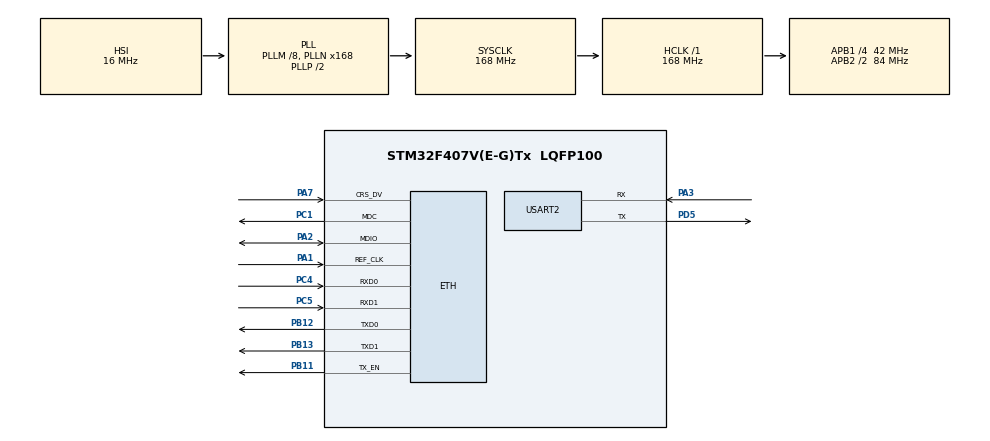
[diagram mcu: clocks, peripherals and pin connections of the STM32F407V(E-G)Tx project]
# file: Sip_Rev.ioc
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ETH.MediaInterface=HAL_ETH_RMII_MODE
ETH.PHY_Name_RMII=DP83848_PHY_ADDRESS
FREERTOS.Tasks01=defaultTask,24,128,StartDefaultTask,Default,NULL,Dynamic,NULL,NULL
FREERTOS.configUSE_NEWLIB_REENTRANT=1
LWIP.BSP.number=1
LWIP.CMSIS_VERSION-Enabled=1
LWIP.GATEWAY_ADDRESS=192.168.001.001
LWIP.IP_ADDRESS=192.168.001.125
LWIP.LWIP_DHCP=0
LWIP.NETMASK_ADDRESS=255.255.255.000
LWIP.Version=v2.1.2_Cube
LWIP0.BSP.STBoard=false
LWIP0.BSP.api=BSP_COMPONENT_DRIVER
LWIP0.BSP.component=DP83848
LWIP0.BSP.instance=DP83848
LWIP0.BSP.name=Driver_PHY
LWIP0.BSP.semaphore=S_DP83848
LWIP0.BSP.solution=DP83848
MBEDTLS.MBEDTLS_MD5_C=1
Mcu.Family=STM32F4
Mcu.Name=STM32F407V(E-G)Tx
Mcu.Package=LQFP100
NVIC.ETH_IRQn=true\:5\:0\:false\:false\:true\:true\:false\:true\:true
NVIC.PriorityGroup=NVIC_PRIORITYGROUP_4
NVIC.TIM2_IRQn=true\:15\:0\:false\:false\:true\:false\:false\:true\:true
NVIC.TimeBase=TIM2_IRQn
NVIC.TimeBaseIP=TIM2
PA1.Mode=RMII
PA1.Signal=ETH_REF_CLK
PA13.Mode=Serial_Wire
PA13.Signal=SYS_JTMS-SWDIO
PA14.Mode=Serial_Wire
PA14.Signal=SYS_JTCK-SWCLK
PA2.Mode=RMII
PA2.Signal=ETH_MDIO
PA3.Mode=Asynchronous
PA3.Signal=USART2_RX
PA7.Mode=RMII
PA7.Signal=ETH_CRS_DV
PB11.Mode=RMII
PB11.Signal=ETH_TX_EN
PB12.Mode=RMII
PB12.Signal=ETH_TXD0
PB13.Mode=RMII
PB13.Signal=ETH_TXD1
PC1.Mode=RMII
PC1.Signal=ETH_MDC
PC14-OSC32_IN.Mode=LSE-External-Oscillator
PC14-OSC32_IN.Signal=RCC_OSC32_IN
PC15-OSC32_OUT.Mode=LSE-External-Oscillator
PC15-OSC32_OUT.Signal=RCC_OSC32_OUT
PC4.Mode=RMII
PC4.Signal=ETH_RXD0
PC5.Mode=RMII
PC5.Signal=ETH_RXD1
PD5.Mode=Asynchronous
PD5.Signal=USART2_TX
PH0-OSC_IN.Mode=HSE-External-Oscillator
PH0-OSC_IN.Signal=RCC_OSC_IN
PH1-OSC_OUT.Mode=HSE-External-Oscillator
PH1-OSC_OUT.Signal=RCC_OSC_OUT
ProjectManager.HeapSize=0x2000
ProjectManager.StackSize=0x4000
ProjectManager.TargetToolchain=STM32CubeIDE
RCC.48MHZClocksFreq_Value=84000000
RCC.AHBFreq_Value=168000000
RCC.APB1CLKDivider=RCC_HCLK_DIV4
RCC.APB1Freq_Value=42000000
RCC.APB1TimFreq_Value=84000000
RCC.APB2CLKDivider=RCC_HCLK_DIV2
RCC.APB2Freq_Value=84000000
RCC.APB2TimFreq_Value=168000000
RCC.CortexFreq_Value=168000000
RCC.HCLKFreq_Value=168000000
RCC.HSE_VALUE=8000000
RCC.HSI_VALUE=16000000
RCC.PLLM=8
RCC.PLLN=168
RCC.SYSCLKFreq_VALUE=168000000
RCC.SYSCLKSource=RCC_SYSCLKSOURCE_PLLCLK
RCC.VCOOutputFreq_Value=336000000
USART2.VirtualMode=VM_ASYNC
VP_FREERTOS_VS_CMSIS_V2.Mode=CMSIS_V2
VP_LWIP_VS_Enabled.Mode=Enabled
VP_MBEDTLS_VS_MBEDTLS.Mode=Enabled
VP_SYS_VS_tim2.Mode=TIM2
board=custom

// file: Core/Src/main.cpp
/* USER CODE BEGIN Header */
/**
  ******************************************************************************
  * @file           : main.c
  * @brief          : Main program body
  ******************************************************************************
  * @attention
  *
  * Copyright (c) 2023 STMicroelectronics.
  * All rights reserved.
  *
  * This software is licensed under terms that can be found in the LICENSE file
  * in the root directory of this software component.
  * If no LICENSE file comes with this software, it is provided AS-IS.
  *
  ******************************************************************************
  */
/* USER CODE END Header */
#include "main.h"
#include "cmsis_os2.h"

/* USER CODE BEGIN Includes */

#include "lwip_udp_client.h"
#include "mbedtls_md5.h"
#include "sip_client.h"
#include "button_handler.h"

extern "C" {
	#include <stdio.h>
	#include "lwip.h"
}
/* USER CODE END Includes */

void SystemClock_Config(void);
static void MX_GPIO_Init(void);
static void MX_USART2_UART_Init(void);
UART_HandleTypeDef huart2;

void but_task(void * argument);
void lwip_task(void * argument);
void sip_task(void *pvParameters);
/* USER CODE BEGIN PFP */

osThreadId_t thread_sip, thread_button, thread_lwip;
osEventFlagsId_t event_eth;

constexpr uint8_t COMMAND_ETH_BIT = (1<<2);

osThreadAttr_t sip_attributes = {
  .name = "SipTask",
  .stack_size = 4096,
  .priority = osPriorityNormal
};

osThreadAttr_t but_attributes = {
  .name = "ButTask",
  .stack_size = 1024,
  .priority = osPriorityNormal
};

osThreadAttr_t lwip_attributes = {
  .name = "LwipTask",
  .stack_size = 1024,
  .priority = osPriorityNormal
};

/* USER CODE END PFP */

/* USER CODE BEGIN 0 */
#define SIP_SERVER_IP   "192.168.1.117"
#define SIP_SERVER_PORT "5160"
#define SIP_USER		"103"
#define LOCAL_IP		"192.168.1.125"
#define SIP_PASSWORD	"103"
#define RING_DURATION_TIMEOUT_MSEC 7000

using SipClientT = SipClient<LwipUdpClient, MbedtlsMd5>;
SipClientT __attribute__((section(".ccmram"))) client{SIP_USER, SIP_PASSWORD, SIP_SERVER_IP, SIP_SERVER_PORT, LOCAL_IP};

extern struct netif gnetif;

ButtonInputHandler<SipClientT, RING_DURATION_TIMEOUT_MSEC> button_input_handler(client);

void HAL_GPIO_EXTI_Callback(uint16_t GPIO_Pin) {
  if (GPIO_Pin == GPIO_PIN_0) {
	  Event event = Event::BUTTON_PRESS;
	  osMessageQueuePut(button_input_handler.m_queue, &event, osPriorityISR, 0);
  }
}

#ifdef __GNUC__
#define PUTCHAR_PROTOTYPE int __io_putchar(int ch)
#else
#define PUTCHAR_PROTOTYPE int fputc(int ch, FILE *f)
#endif

extern "C" {
	PUTCHAR_PROTOTYPE
	{
	  HAL_UART_Transmit(&huart2, (uint8_t *)&ch, 1, HAL_MAX_DELAY);
	  return ch;
	}
}
/* USER CODE END 0 */

int main(void)
{

  /* MCU Configuration--------------------------------------------------------*/

  /* Reset of all peripherals, Initializes the Flash interface and the Systick. */
  HAL_Init();

  /* Configure the system clock */
  SystemClock_Config();

  /* USER CODE BEGIN SysInit */
  BSP_LED_Init(LED3);
  BSP_LED_Init(LED4);
  BSP_LED_Init(LED5);
  BSP_LED_Init(LED6);
  /* USER CODE END SysInit */

  /* Initialize all configured peripherals */
  MX_GPIO_Init();
  MX_USART2_UART_Init();

  osKernelInitialize();

  /* Call PreOsInit function */
  /* USER CODE BEGIN 2 */
  event_eth = osEventFlagsNew(NULL);

  thread_sip = 		osThreadNew(sip_task, NULL, &sip_attributes);
  thread_button = 	osThreadNew(but_task, NULL, &but_attributes);
  thread_lwip = 	osThreadNew(lwip_task, NULL, &lwip_attributes);
  /* Start scheduler */
  osKernelStart();
  /* We should never get here as control is now taken by the scheduler */
  /* Infinite loop */
  while (1)
  {

  }
}

void SystemClock_Config(void)
{
  RCC_OscInitTypeDef RCC_OscInitStruct = {0};
  RCC_ClkInitTypeDef RCC_ClkInitStruct = {0};

  /** Configure the main internal regulator output voltage
  */
  __HAL_RCC_PWR_CLK_ENABLE();
  __HAL_PWR_VOLTAGESCALING_CONFIG(PWR_REGULATOR_VOLTAGE_SCALE1);

  /** Initializes the RCC Oscillators according to the specified parameters
  * in the RCC_OscInitTypeDef structure.
  */
  RCC_OscInitStruct.OscillatorType = RCC_OSCILLATORTYPE_HSI;
  RCC_OscInitStruct.HSIState = RCC_HSI_ON;
  RCC_OscInitStruct.HSICalibrationValue = RCC_HSICALIBRATION_DEFAULT;
  RCC_OscInitStruct.PLL.PLLState = RCC_PLL_ON;
  RCC_OscInitStruct.PLL.PLLSource = RCC_PLLSOURCE_HSI;
  RCC_OscInitStruct.PLL.PLLM = 8;
  RCC_OscInitStruct.PLL.PLLN = 168;
  RCC_OscInitStruct.PLL.PLLP = RCC_PLLP_DIV2;
  RCC_OscInitStruct.PLL.PLLQ = 4;
  if (HAL_RCC_OscConfig(&RCC_OscInitStruct) != HAL_OK)
  {
    Error_Handler();
  }

  /** Initializes the CPU, AHB and APB buses clocks
  */
  RCC_ClkInitStruct.ClockType = RCC_CLOCKTYPE_HCLK|RCC_CLOCKTYPE_SYSCLK
                              |RCC_CLOCKTYPE_PCLK1|RCC_CLOCKTYPE_PCLK2;
  RCC_ClkInitStruct.SYSCLKSource = RCC_SYSCLKSOURCE_PLLCLK;
  RCC_ClkInitStruct.AHBCLKDivider = RCC_SYSCLK_DIV1;
  RCC_ClkInitStruct.APB1CLKDivider = RCC_HCLK_DIV4;
  RCC_ClkInitStruct.APB2CLKDivider = RCC_HCLK_DIV2;

  if (HAL_RCC_ClockConfig(&RCC_ClkInitStruct, FLASH_LATENCY_5) != HAL_OK)
  {
    Error_Handler();
  }
}

static void MX_USART2_UART_Init(void)
{

  huart2.Instance = USART2;
  huart2.Init.BaudRate = 115200;
  huart2.Init.WordLength = UART_WORDLENGTH_8B;
  huart2.Init.StopBits = UART_STOPBITS_1;
  huart2.Init.Parity = UART_PARITY_NONE;
  huart2.Init.Mode = UART_MODE_TX_RX;
  huart2.Init.HwFlowCtl = UART_HWCONTROL_NONE;
  huart2.Init.OverSampling = UART_OVERSAMPLING_16;
  if (HAL_UART_Init(&huart2) != HAL_OK)
  {
    Error_Handler();
  }

}

static void MX_GPIO_Init(void)
{
  /* GPIO Ports Clock Enable */
  __HAL_RCC_GPIOC_CLK_ENABLE();
  __HAL_RCC_GPIOH_CLK_ENABLE();
  __HAL_RCC_GPIOA_CLK_ENABLE();
  __HAL_RCC_GPIOB_CLK_ENABLE();

}

/* USER CODE BEGIN 4 */
void sip_task(void *pvParameters)
{
    for(;;)
    {
    	osEventFlagsWait(event_eth, COMMAND_ETH_BIT, osFlagsNoClear, osWaitForever);

    	if (!client.is_initialized())
        {
            bool result = client.init();
            printf("SIP client initialized %ssuccessfully \n", result ? "" : "un");
            if (!result)
            {
                printf("Waiting to try again...");
                osDelay(2000);
                continue;
            }

            client.set_event_handler([](const SipClientEvent& event) {

               switch (event.event)
               {
               case SipClientEvent::Event::CALL_START:
                   printf( "Call start");
                   break;
               case SipClientEvent::Event::CALL_CANCELLED:
                   printf("Call cancelled, reason %d", (int) event.cancel_reason);
                   button_input_handler.call_end();
                   break;
               case SipClientEvent::Event::CALL_END:
                   printf("Call end");
                   button_input_handler.call_end();
                   osDelay(500);
                   //i2s_pause();
                   break;
               case SipClientEvent::Event::BUTTON_PRESS:
                   printf("Got button press: %c for %d milliseconds", event.button_signal, event.button_duration);
                   break;
               }
            });
        }

        client.run();
    }
}

/* USER CODE END 4 */

void lwip_task(void * argument)
{

	MX_LWIP_Init();
	client.set_server_ip(std::string(SIP_SERVER_IP));
	client.set_my_ip(std::string(ip4addr_ntoa(netif_ip4_addr(&gnetif))));
	osEventFlagsSet(event_eth,COMMAND_ETH_BIT);

	for(;;)
	{
			  BSP_LED_Toggle(LED3);
			  BSP_LED_Toggle(LED4);
			  BSP_LED_Toggle(LED5);
			  BSP_LED_Toggle(LED6);
			  osDelay(1000);
	}
}

void but_task(void * argument)
{
	  button_input_handler.run();
}
void HAL_TIM_PeriodElapsedCallback(TIM_HandleTypeDef *htim)
{
  if (htim->Instance == TIM2) {
    HAL_IncTick();
  }
}

void Error_Handler(void)
{
  __disable_irq();
  while (1)
  {
  }
}
